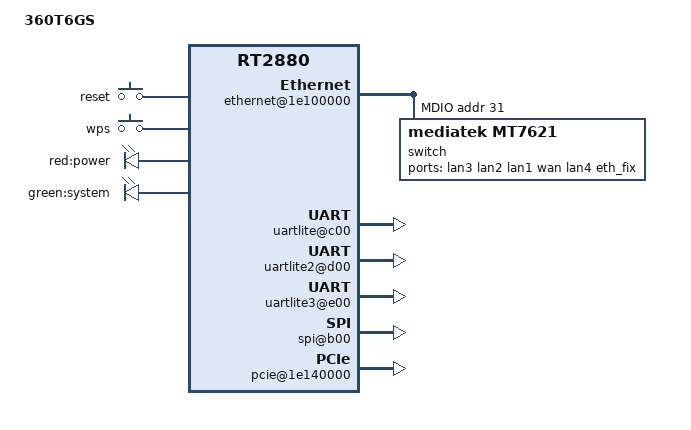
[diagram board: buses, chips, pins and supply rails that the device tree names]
/dts-v1/;

/ {
    #address-cells = <1>;
    #size-cells = <1>;

    model = "360T6GS";
    compatible = "mediatek,mt7621-soc", "ralink,rt2880";

    aliases {
        led-boot = "/leds/system";
        led-failsafe = "/leds/system";
        led-upgrade = "/leds/system";
        serial0 = "/palmbus@1e000000/uartlite@c00";
    };

    chosen {
        bootargs = "console=ttyS0,115200";
    };

    clkctrl {
        compatible = "ralink,rt2880-clock";
        #clock-cells = <1>;
    };

    cpc@1fbf0000 {
        compatible = "mti,mips-cpc";
        reg = <0x1fbf0000 0x8000>;
    };

    cpuintc {
        compatible = "mti,cpu-interrupt-controller";
        interrupt-controller;
        #address-cells = <0>;
        #interrupt-cells = <1>;
    };

    cpus {
        #address-cells = <1>;
        #size-cells = <0>;

        cpu@0 {
            compatible = "mips,mips1004Kc";
            device_type = "cpu";
            reg = <0>;
        };
        cpu@1 {
            compatible = "mips,mips1004Kc";
            device_type = "cpu";
            reg = <1>;
        };
    };

    ethernet@1e100000 {
        compatible = "mediatek,mt7621-eth";
        reg = <0x1e100000 0x10000>;
        interrupt-parent = <3>;
        interrupts = <0 3 4>;
        clock-names = "fe", "ethif";
        clocks = <10 9 10 22>;

        mac@0 {
            compatible = "mediatek,eth-mac";
            reg = <0>;
            phy-mode = "rgmii";
            fixed-link {
                speed = <1000>;
                full-duplex;
                pause;
            };
            nvmem-cell-names = "mac-address";
        };

        mac@1 {
            compatible = "mediatek,eth-mac";
            reg = <1>;
            phy-mode = "rgmii";
            status = "disabled";
        };

        mdio-bus {
            #address-cells = <1>;
            #size-cells = <0>;

            switch@1f {
                compatible = "mediatek,mt7621";
                #interrupt-cells = <1>;
                interrupt-controller;
                interrupts = <0 23 4>;
                mediatek,mcm;

                ports {
                    port@0 { label = "lan3"; reg = <0>; status = "okay"; };
                    port@1 { label = "lan2"; reg = <1>; status = "okay"; };
                    port@2 { label = "lan1"; reg = <2>; status = "okay"; };
                    port@3 { label = "wan"; reg = <3>; status = "okay"; };
                    port@4 { label = "lan4"; reg = <4>; status = "disabled"; };
                    port@6 { label = "eth_fix"; reg = <6>; phy-mode = "rgmii"; fixed-link { speed = <1000>; full-duplex; pause; }; };
                };

                reg = <31>;
                reset-names = "mcm";
                resets = <5 2>;
            };
        };
    };

    keys {
        compatible = "gpio-keys";
        reset {
            gpios = <22 7 1>;
            label = "reset";
            linux,code = <0x198>;
        };
        wps {
            gpios = <22 6 1>;
            label = "wps";
            linux,code = <0x211>;
        };
    };

    leds {
        compatible = "gpio-leds";
        power {
            gpios = <22 13 1>;
            label = "red:power";
        };
        system {
            gpios = <22 15 0>;
            label = "green:system";
        };
    };

    nand@1e003000 {
        compatible = "mediatek,mt7621-nfc";
        reg = <0x1e003000 0x800 0x1e003800 0x800>;
        clocks = <14>;
        clock-names = "nfi_clk";
        status = "disabled";
    };

    palmbus@1e000000 {
        compatible = "palmbus";
        #address-cells = <1>;
        #size-cells = <1>;
        reg = <0x1e000000 0x100000>;
        ranges = <0 0 0x1e000000 0x100000>;

        gpio@600 {
            compatible = "mediatek,mt7621-gpio";
            gpio-controller;
            #gpio-cells = <2>;
            #interrupt-cells = <2>;
            gpio-ranges = <2 0 0 95>;
            interrupt-controller;
            interrupt-parent = <3>;
            interrupts = <0 12 4>;
        };

        uartlite@c00 {
            compatible = "ns16550a";
            reg = <0xc00 0x100>;
            reg-io-width = <4>;
            reg-shift = <2>;
            interrupt-parent = <3>;
            interrupts = <0 26 4>;
        };

        uartlite2@d00 {
            compatible = "ns16550a";
            reg = <0xd00 0x100>;
            reg-io-width = <4>;
            reg-shift = <2>;
            interrupt-parent = <3>;
            interrupts = <0 27 4>;
        };

        uartlite3@e00 {
            compatible = "ns16550a";
            reg = <0xe00 0x100>;
            reg-io-width = <4>;
            reg-shift = <2>;
            interrupt-parent = <3>;
            interrupts = <0 28 4>;
        };

        spi@b00 {
            compatible = "ralink,mt7621-spi";
            reg = <0xb00 0x100>;
        };
    };

    pcie@1e140000 {
        compatible = "mediatek,mt7621-pci";
        #address-cells = <3>;
        #interrupt-cells = <1>;
        reg = <0x1e140000 0x100 0x1e142000 0x100 0x1e143000 0x100 0x1e144000 0x100>;
        status = "okay";
    };
};
